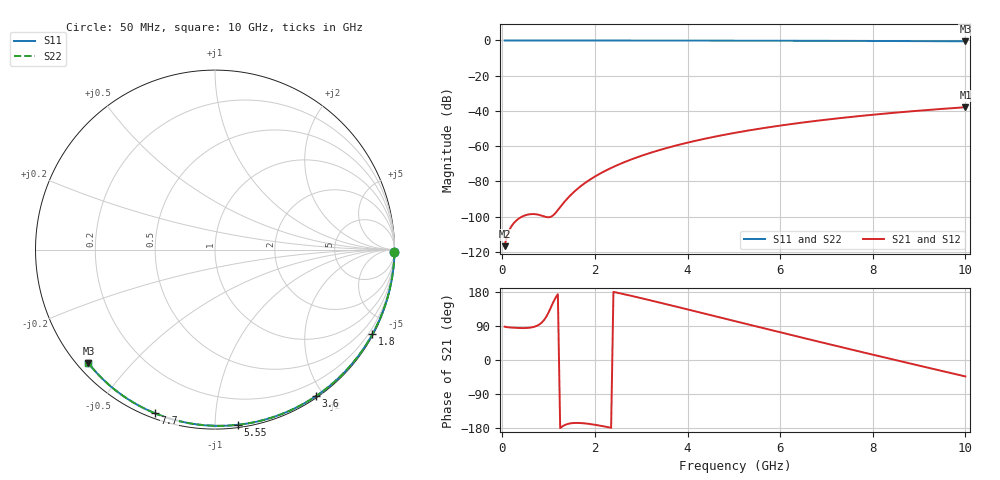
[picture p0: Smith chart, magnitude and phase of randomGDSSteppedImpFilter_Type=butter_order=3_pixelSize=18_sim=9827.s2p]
! freq	dB(S11)	phase(S11)	dB(S12)	phase(S12)
!  dB(S21)	phase(S21)	dB(S22)	phase(S22)
!S-par simulation data
#  GHz  S  DB  R 50
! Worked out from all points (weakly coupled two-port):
!   200 points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, 50 MHz to 10 GHz, reference 50 ohm
!   highest |S21| = -37.89 dB at 10 GHz (marker M1); lowest = -116.7 dB at 50 MHz (marker M2)
!   lowest |S11| = -0.5 dB at 10 GHz (marker M3), VSWR 37.05, Z = 1.55 - j19.1 ohm
!   |S11| at or under -10 dB: nowhere
!   |S22| runs from -0.5 to 0.0 dB; largest |S21 - S12| = 0
!   S11 on the Smith chart (normalised r, x): 50 MHz: open; 1.8 GHz: 0.03, -3.96; 3.6 GHz: 0.02, -1.91; 5.55 GHz: 0.02, -1.14; 7.7 GHz: 0.02, -0.70; 10 GHz: 0.03, -0.38
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0.05  -0.00 -0.8  -116.73 88.0  -116.73 88.0  -0.00 -0.8
0.45  -0.01 -7.2  -99.68 84.2  -99.68 84.2  -0.01 -7.2
0.9  -0.02 -14.3  -99.83 105.2  -99.83 105.2  -0.02 -14.3
1.75  -0.04 -27.5  -81.57 -166.9  -81.57 -166.9  -0.04 -27.5
1.8  -0.04 -28.3  -80.62 -167.5  -80.62 -167.5  -0.04 -28.3
1.85  -0.04 -29.1  -79.71 -168.2  -79.71 -168.2  -0.04 -29.1
2  -0.04 -31.4  -77.22 -170.9  -77.22 -170.9  -0.04 -31.4
2.15  -0.04 -33.7  -74.99 -174.1  -74.99 -174.1  -0.04 -33.7
2.35  -0.05 -36.7  -72.34 -179.0  -72.34 -179.0  -0.05 -36.7
2.55  -0.05 -39.8  -69.99 175.8  -69.99 175.8  -0.05 -39.8
2.95  -0.06 -45.8  -65.94 164.6  -65.94 164.6  -0.06 -45.8
3.4  -0.07 -52.4  -62.16 151.5  -62.16 151.5  -0.07 -52.4
3.6  -0.07 -55.3  -60.67 145.5  -60.67 145.5  -0.07 -55.3
4.3  -0.09 -65.3  -56.18 124.5  -56.18 124.5  -0.09 -65.3
5.05  -0.12 -75.8  -52.29 101.8  -52.29 101.8  -0.12 -75.8
5.55  -0.14 -82.5  -50.08 86.7  -50.08 86.7  -0.14 -82.5
6.1  -0.16 -89.8  -47.94 70.2  -47.94 70.2  -0.16 -89.8
6.7  -0.19 -97.6  -45.87 52.3  -45.87 52.3  -0.19 -97.6
7.7  -0.25 -110.2  -42.93 22.8  -42.93 22.8  -0.25 -110.2
8.35  -0.30 -118.2  -41.30 3.9  -41.30 3.9  -0.30 -118.2
9.2  -0.38 -128.5  -39.42 -20.5  -39.42 -20.5  -0.38 -128.5
10  -0.47 -138.1  -37.89 -43.4  -37.89 -43.4  -0.47 -138.1
